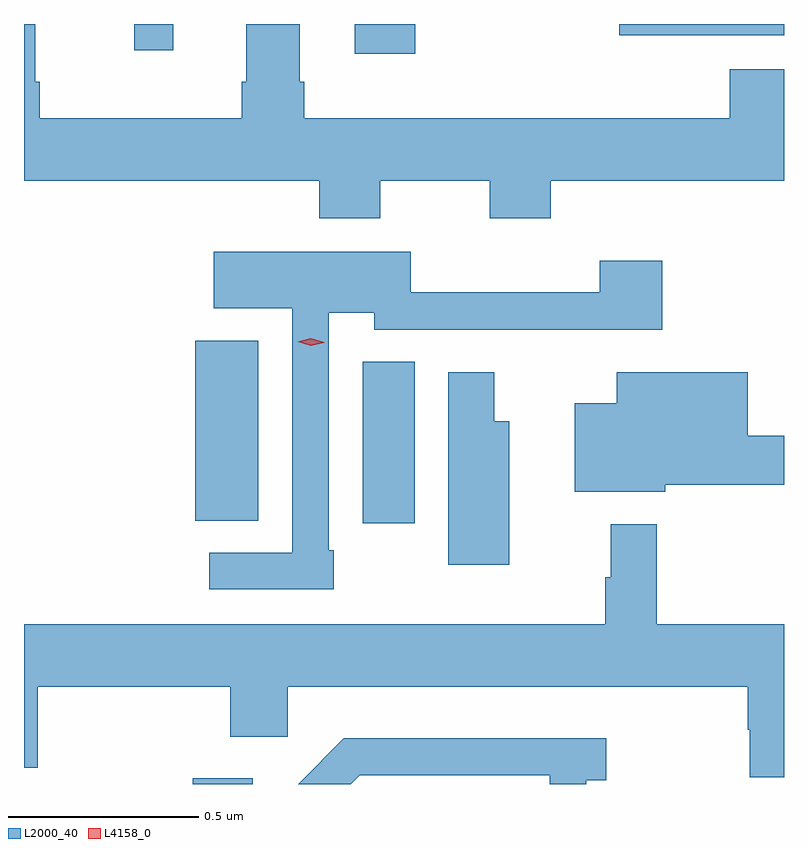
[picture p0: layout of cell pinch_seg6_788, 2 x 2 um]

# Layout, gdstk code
import gdstk
lib = gdstk.Library(unit=1e-6, precision=1e-09)
def R(c, l, rs):  # rectangles x0, y0, x1, y1
    for r in rs: c.add(gdstk.rectangle(r[:2], r[2:], *l))
def P(c, l, *ps):  # polygons
    for p in ps: c.add(gdstk.Polygon(p, *l))
L2000_40 = (2000, 40)
L4158_0 = (4158, 0)

pinch_seg6_788 = lib.new_cell('pinch_seg6_788')
R(pinch_seg6_788, L2000_40, [(303.44,991.036,303.598,991.051), (303.887,991.722,304.024,992.147), (303.446,991.729,303.613,992.203), (303.866,992.958,304.025,993.036), (303.286,992.967,303.389,993.036), (304.563,993.006,304.996,993.036)])
P(pinch_seg6_788, L2000_40, [(303.933,992.624),(304.222,992.624),(304.222,992.525),(304.382,992.525),(304.382,992.624),(304.996,992.624),(304.996,992.917),(304.853,992.917),(304.853,992.788),(303.734,992.788),(303.734,992.884),(303.721,992.884),(303.721,993.036),(303.581,993.036),(303.581,992.884),(303.569,992.884),(303.569,992.788),(303.038,992.788),(303.038,992.884),(303.025,992.884),(303.025,993.036),(302.996,993.036),(302.996,992.624),(303.773,992.624),(303.773,992.525),(303.933,992.525)],
  [(303.811,991.651),(303.798,991.651),(303.798,992.276),(303.918,992.276),(303.918,992.232),(304.676,992.232),(304.676,992.413),(304.511,992.413),(304.511,992.33),(304.014,992.33),(304.014,992.437),(303.495,992.437),(303.495,992.288),(303.702,992.288),(303.702,991.644),(303.483,991.644),(303.483,991.548),(303.811,991.548)],
  [(304.684,991.824),(304.996,991.824),(304.996,991.952),(304.9,991.952),(304.9,992.119),(304.556,992.119),(304.556,992.038),(304.445,992.038),(304.445,991.805),(304.684,991.805)],
  [(304.273,991.99),(304.234,991.99),(304.234,992.119),(304.112,992.119),(304.112,991.613),(304.273,991.613)],
  [(304.996,991.456),(304.661,991.456),(304.661,991.72),(304.54,991.72),(304.54,991.58),(304.525,991.58),(304.525,991.456),(302.996,991.456),(302.996,991.079),(303.032,991.079),(303.032,991.292),(303.539,991.292),(303.539,991.161),(303.69,991.161),(303.69,991.292),(304.901,991.292),(304.901,991.179),(304.906,991.179),(304.906,991.054),(304.996,991.054)],
  [(303.879,991.059),(304.38,991.059),(304.38,991.036),(304.476,991.036),(304.476,991.046),(304.528,991.046),(304.528,991.156),(303.838,991.156),(303.718,991.036),(303.856,991.036)])
P(pinch_seg6_788, L4158_0, [(303.75,992.189),(303.716,992.2),(303.716,992.2),(303.716,992.2),(303.751,992.209),(303.786,992.198),(303.786,992.197),(303.786,992.197)])

lib.write_gds('pinch_seg6_788.gds')
